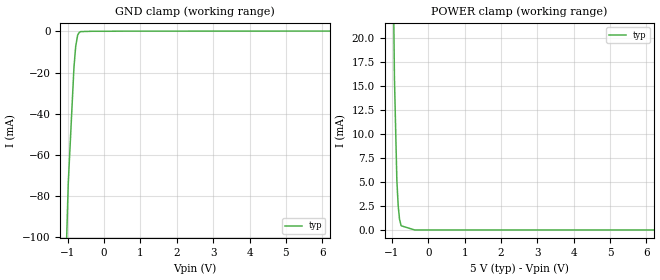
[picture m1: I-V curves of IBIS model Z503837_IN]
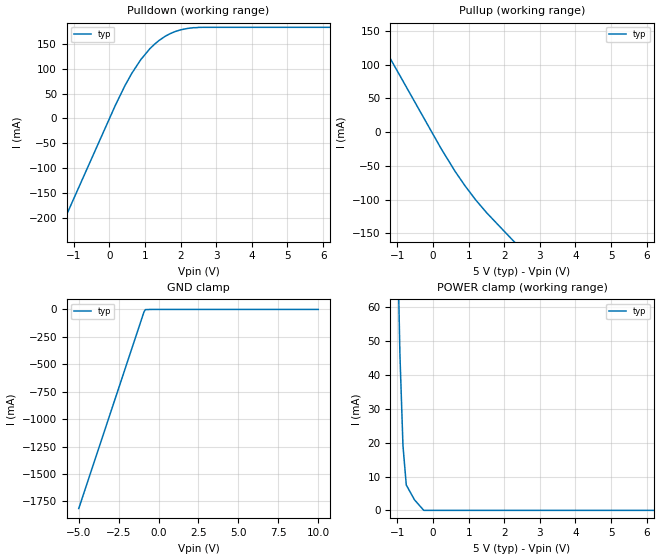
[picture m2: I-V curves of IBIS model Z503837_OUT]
| YOU ARE ONLY AUTHORIZED TO USE THIS SOFTWARE
| ACCORDING TO LICENSOR'S LICENSE RESTRICTIONS.
[IBIS Ver] 3.1
[File Name] mc74act160n.ibs
[File Rev] 2.0
[Source] Measured and created by ICX Technology
[Date] Friday 7/14/00 9:08:01 AM
[Copyright]
| (C) COPYRIGHT 1993-2000
| MENTOR GRAPHICS CORPORATION
| ICX STANDARD LIBRARY, ICX PROJECT MODELING,
| ICX CUSTOM MODELING, ICX VENDOR MODEL
| ALL RIGHTS RESERVED.
| THE FOLLOWING ARE TRADEMARKS OR SERVICE MARKS OF
| MENTOR GRAPHICS CORPORATION:ICX (R), ICX STANDARD
| LIBRARY(R), ICX PROJECT MODELING(R), ICX CUSTOM
| MODELING(R), qualityIBIS(TM), MODELVIEWER(TM),
| AND MODELEDITOR(TM)
| ALL COPIES OF SOFTWARE, INCLUDING BUT NOT LIMITED TO
| ANY MODIFICATIONS, ENHANCEMENTS OR DERIVATIVE WORKS,
| MUST CONTAIN ALL MENTOR GRAPHICS CORPORATION'S
| NOTICES AND LEGENDS, INCLUDING THOSE EMBEDDED IN
| SOFTWARE AND THOSE AFFIXED TO SOFTWARE MEDIUM
| AND CONTAINER, AS RECEIVED FROM MENTOR GRAPHICS
| CORPORATION.
|  ZAP Model Builder 2.7
[Component] MC74ACT160N
[Manufacturer] OnSemiconductor
[Package]
| variable   typ   min   max
R_pkg  .212ohms NA NA
L_pkg  4.758nH NA NA
C_pkg  1.143pF NA NA
[Pin] signal_name  model_name  R_pin  L_pin C_pin
1 _CLR Z503837_IN .224 7.258n 1.578p
2 CLK Z503837_IN .216 5.258n 1.288p
3 A Z503837_IN .208 3.758n .998p
4 B Z503837_IN .2 2.758n .708p
5 C Z503837_IN .2 2.758n .708p
6 D Z503837_IN .208 3.758n .998p
7 ENP Z503837_IN .216 5.258n 1.288p
8 GND GND .224 7.258n 1.578p
9 _LOAD Z503837_IN .224 7.258n 1.578p
10 ENT Z503837_IN .216 5.258n 1.288p
11 QD Z503837_OUT .208 3.758n .998p
12 QC Z503837_OUT .2 2.758n .708p
13 QB Z503837_OUT .2 2.758n .708p
14 QA Z503837_OUT .208 3.758n .998p
15 RCO Z503837_OUT .216 5.258n 1.288p
16 VCC POWER .224 7.258n 1.578p
| Models and submodels in the file (2): Z503837_IN (Input), Z503837_OUT (Output)
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| (C) COPYRIGHT 1993-2000
| MENTOR GRAPHICS CORPORATION
| ICX STANDARD LIBRARY, ICX PROJECT MODELING,
| ICX CUSTOM MODELING, ICX VENDOR MODEL
| ALL RIGHTS RESERVED.
| THE FOLLOWING ARE TRADEMARKS OR SERVICE MARKS OF
| MENTOR GRAPHICS CORPORATION:ICX (R), ICX STANDARD
| LIBRARY(R), ICX PROJECT MODELING(R), ICX CUSTOM
| MODELING(R), qualityIBIS(TM), MODELVIEWER(TM),
| AND MODELEDITOR(TM)
| ALL COPIES OF SOFTWARE, INCLUDING BUT NOT LIMITED TO
| ANY MODIFICATIONS, ENHANCEMENTS OR DERIVATIVE WORKS,
| MUST CONTAIN ALL MENTOR GRAPHICS CORPORATION'S
| NOTICES AND LEGENDS, INCLUDING THOSE EMBEDDED IN
| SOFTWARE AND THOSE AFFIXED TO SOFTWARE MEDIUM
| AND CONTAINER, AS RECEIVED FROM MENTOR GRAPHICS
| CORPORATION.
| Model Application Version 1.89 2/18/99.
[Model] Z503837_IN
Model_type Input
Vinl = 800.0mV
Vinh = 2.000V
C_comp 4.000pF NA NA
| variable typ   min   max
[Voltage Range] 5.000V NA NA
[GND Clamp Reference] 0.000V NA NA
[POWER Clamp Reference] 5.000V NA NA
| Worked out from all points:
|   GND clamp passes 1 mA (typ) near -0.70 V on its own axis
|   POWER clamp passes 1 mA (typ) near -0.78 V on its own axis
[GND Clamp]
-5V       -3.335A    NA         NA
-1.048V   -112.1mA   NA         NA
-828.7mV  -17.51mA   NA         NA
-781mV    -7.325mA   NA         NA
-727.6mV  -1.836mA   NA         NA
-684.2mV  -523.1uA   NA         NA
-645.1mV  -92.12uA   NA         NA
10V       164.7uA    NA         NA
[POWER Clamp]
-5V       2.741A     NA         NA
-1.123V   100.6mA    NA         NA
-1.02V    46.53mA    NA         NA
-931mV    15.91mA    NA         NA
-864mV    5.167mA    NA         NA
-828mV    2.557mA    NA         NA
-791mV    1.133mA    NA         NA
-747mV    439.4uA    NA         NA
-373.5mV  0A         NA         NA
10V       0A         NA         NA
| (C) COPYRIGHT 1993-2000
| MENTOR GRAPHICS CORPORATION
| ICX STANDARD LIBRARY, ICX PROJECT MODELING,
| ICX CUSTOM MODELING, ICX VENDOR MODEL
| ALL RIGHTS RESERVED.
| THE FOLLOWING ARE TRADEMARKS OR SERVICE MARKS OF
| MENTOR GRAPHICS CORPORATION:ICX (R), ICX STANDARD
| LIBRARY(R), ICX PROJECT MODELING(R), ICX CUSTOM
| MODELING(R), qualityIBIS(TM), MODELVIEWER(TM),
| AND MODELEDITOR(TM)
| ALL COPIES OF SOFTWARE, INCLUDING BUT NOT LIMITED TO
| ANY MODIFICATIONS, ENHANCEMENTS OR DERIVATIVE WORKS,
| MUST CONTAIN ALL MENTOR GRAPHICS CORPORATION'S
| NOTICES AND LEGENDS, INCLUDING THOSE EMBEDDED IN
| SOFTWARE AND THOSE AFFIXED TO SOFTWARE MEDIUM
| AND CONTAINER, AS RECEIVED FROM MENTOR GRAPHICS
| CORPORATION.
| Model Application Version 1.89 2/18/99.
[Model] Z503837_OUT
Model_type Output
Vref=0.000V
Rref=500.0ohms
Cref=50.00pF
Vmeas=1.500V
C_comp 8.000pF NA NA
| variable typ   min   max
[Voltage Range] 5.000V NA NA
[POWER Clamp Reference] 5.000V NA NA
[Pullup Reference] 5.000V NA NA
[Pulldown Reference] 0.000V NA NA
[GND Clamp Reference] 0.000V NA NA
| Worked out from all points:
|   slope of the pulldown table from 0 to 0.75 V, typ, clamps not added: 7.21 ohm
|   slope of the pullup table from 0 to 0.75 V, typ, clamps not added: 11.6 ohm
[GND Clamp]
-5V       -1.814A    NA         NA
-908.1mV  -20.12mA   NA         NA
-825mV    -1.847mA   NA         NA
-412.5mV  0A         NA         NA
10V       0A         NA         NA
[Pulldown]
-5V       -801.9mA   NA         NA
161.2mV   25.8mA     NA         NA
434.7mV   65.89mA    NA         NA
628.5mV   90.73mA    NA         NA
879.7mV   118.1mA    NA         NA
1.133V    139.9mA    NA         NA
1.394V    156.6mA    NA         NA
1.565V    164.9mA    NA         NA
1.855V    174.7mA    NA         NA
2.187V    180.6mA    NA         NA
2.505V    182.8mA    NA         NA
10V       182.9mA    NA         NA
[Pullup]
-5V       463.6mA    NA         NA
236mV     -25.35mA   NA         NA
620mV     -58.24mA   NA         NA
898mV     -79.6mA    NA         NA
1.193V    -100.2mA   NA         NA
1.514V    -120mA     NA         NA
10V       -590.3mA   NA         NA
[POWER Clamp]
-5V       2.714A     NA         NA
-1.04V    102mA      NA         NA
-931mV    46.07mA    NA         NA
-845mV    19.07mA    NA         NA
-752mV    7.487mA    NA         NA
-522mV    3.125mA    NA         NA
-261mV    0A         NA         NA
10V       0A         NA         NA
[Ramp]
| variable typ min max
dV/dt_r 2.958/362.3p NA NA
dV/dt_f 2.958/384.0p NA NA
R_load = 500.0Ohms
